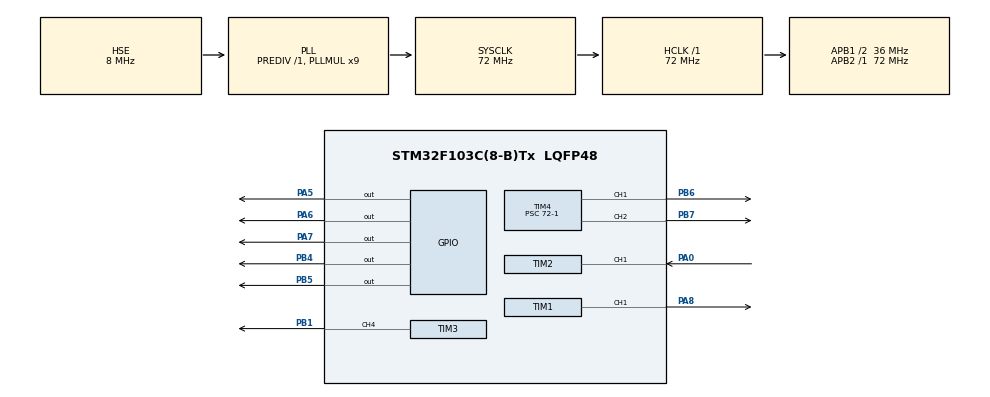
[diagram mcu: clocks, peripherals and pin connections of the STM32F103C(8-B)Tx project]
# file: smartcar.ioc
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Mcu.Family=STM32F1
Mcu.Name=STM32F103C(8-B)Tx
Mcu.Package=LQFP48
NVIC.PriorityGroup=NVIC_PRIORITYGROUP_4
PA0-WKUP.Signal=S_TIM2_CH1_ETR
PA5.GPIO_ModeDefaultOutputPP=GPIO_MODE_OUTPUT_PP
PA5.Signal=GPIO_Output
PA6.GPIO_PuPd=GPIO_PULLDOWN
PA6.GPIO_Speed=GPIO_SPEED_FREQ_MEDIUM
PA6.Signal=GPIO_Output
PA7.GPIO_PuPd=GPIO_PULLUP
PA7.PinState=GPIO_PIN_SET
PA7.Signal=GPIO_Output
PA8.Signal=S_TIM1_CH1
PB1.Signal=S_TIM3_CH4
PB4.GPIO_ModeDefaultOutputPP=GPIO_MODE_OUTPUT_PP
PB4.Signal=GPIO_Output
PB5.GPIO_ModeDefaultOutputPP=GPIO_MODE_OUTPUT_PP
PB5.Signal=GPIO_Output
PB6.Signal=S_TIM4_CH1
PB7.Signal=S_TIM4_CH2
PC14-OSC32_IN.Mode=LSE-External-Oscillator
PC14-OSC32_IN.Signal=RCC_OSC32_IN
PC15-OSC32_OUT.Mode=LSE-External-Oscillator
PC15-OSC32_OUT.Signal=RCC_OSC32_OUT
PD0-OSC_IN.Mode=HSE-External-Oscillator
PD0-OSC_IN.Signal=RCC_OSC_IN
PD1-OSC_OUT.Mode=HSE-External-Oscillator
PD1-OSC_OUT.Signal=RCC_OSC_OUT
ProjectManager.HeapSize=0x200
ProjectManager.StackSize=0x400
ProjectManager.TargetToolchain=MDK-ARM V5.32
RCC.AHBFreq_Value=72000000
RCC.APB1CLKDivider=RCC_HCLK_DIV2
RCC.APB1Freq_Value=36000000
RCC.APB1TimFreq_Value=72000000
RCC.APB2Freq_Value=72000000
RCC.APB2TimFreq_Value=72000000
RCC.HCLKFreq_Value=72000000
RCC.PLLMUL=RCC_PLL_MUL9
RCC.PLLSourceVirtual=RCC_PLLSOURCE_HSE
RCC.SYSCLKFreq_VALUE=72000000
RCC.SYSCLKSource=RCC_SYSCLKSOURCE_PLLCLK
RCC.USBFreq_Value=72000000
SH.S_TIM1_CH1.0=TIM1_CH1,PWM Generation1 CH1
SH.S_TIM2_CH1_ETR.0=TIM2_CH1,Input_Capture1_from_TI1
SH.S_TIM3_CH4.0=TIM3_CH4,PWM Generation4 CH4
SH.S_TIM4_CH1.0=TIM4_CH1,PWM Generation1 CH1
SH.S_TIM4_CH2.0=TIM4_CH2,PWM Generation2 CH2
TIM1.Channel-PWM\ Generation1\ CH1=TIM_CHANNEL_1
TIM2.Channel-Input_Capture1_from_TI1=TIM_CHANNEL_1
TIM3.Channel-PWM\ Generation4\ CH4=TIM_CHANNEL_4
TIM3.Period=20000-1
TIM3.Prescaler=72-1
TIM4.AutoReloadPreload=TIM_AUTORELOAD_PRELOAD_ENABLE
TIM4.Channel-PWM\ Generation1\ CH1=TIM_CHANNEL_1
TIM4.Channel-PWM\ Generation2\ CH2=TIM_CHANNEL_2
TIM4.Period=1000-1
TIM4.Prescaler=72-1
TIM4.Pulse-PWM\ Generation1\ CH1=500
TIM4.Pulse-PWM\ Generation2\ CH2=500
VP_SYS_VS_ND.Mode=No_Debug
board=custom

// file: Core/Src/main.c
/* USER CODE BEGIN Header */
/**
  ******************************************************************************
  * @file           : main.c
  * @brief          : Main program body
  ******************************************************************************
  * @attention
  *
  * Copyright (c) 2023 STMicroelectronics.
  * All rights reserved.
  *
  * This software is licensed under terms that can be found in the LICENSE file
  * in the root directory of this software component.
  * If no LICENSE file comes with this software, it is provided AS-IS.
  *
  ******************************************************************************
  */
/* USER CODE END Header */
#include "main.h"
#include "tim.h"
#include "gpio.h"

/* USER CODE BEGIN Includes */

//电创活动赛题_超声波避障小车 Made by wzz 2023.05.05

/* USER CODE END Includes */

/* USER CODE BEGIN PV */
uint8_t isup=1;    //上升沿标志
uint16_t valueup;  //存储上升沿开始计数点
uint16_t valuedown;//储存下降沿开始计数点
uint16_t w=0;      //实际脉冲宽度
uint8_t updatecount=0;//定时器反转计数
int pwm1=0;
int pwm2=0;
uint16_t s = 500 ;//用作w与s的对比
/* USER CODE END PV */

void SystemClock_Config(void);

/* USER CODE BEGIN 0 */

void HAL_TIM_IC_CaptureCallback(TIM_HandleTypeDef *htim)//检测脉冲宽度函数
{
	if(isup)
	{
		valueup = HAL_TIM_ReadCapturedValue(htim,TIM_CHANNEL_1);//如果是上升沿，存储计数点
		__HAL_TIM_SET_CAPTUREPOLARITY(htim,TIM_CHANNEL_1,TIM_ICPOLARITY_FALLING);//设置为下降沿检测
		isup=0;//下一轮执行else部分代码
	}
	else
	{
		valuedown = HAL_TIM_ReadCapturedValue(htim,TIM_CHANNEL_1);//如果是下降沿，储存计数点，否则不改变
		__HAL_TIM_SET_CAPTUREPOLARITY(htim,TIM_CHANNEL_1,TIM_ICPOLARITY_RISING);//设置为上升沿检测
		isup=1;//下一轮执行if代码
	     w = valuedown + updatecount*65536 - valueup;//检测脉冲宽度
	}
}
void HAL_TIM_PeriodElapsedCallback(TIM_HandleTypeDef *htim)//如果定时器反转，使updatecount加一，保证valuedown永远大于valueup
{
	updatecount++;
}
/* USER CODE END 0 */

int main(void)
{

  /* MCU Configuration--------------------------------------------------------*/

  /* Reset of all peripherals, Initializes the Flash interface and the Systick. */
  HAL_Init();

  /* Configure the system clock */
  SystemClock_Config();

  /* Initialize all configured peripherals */
  MX_GPIO_Init();
  MX_TIM1_Init();
  MX_TIM2_Init();
  MX_TIM3_Init();
  MX_TIM4_Init();
  /* USER CODE BEGIN 2 */
	HAL_TIM_PWM_Start(&htim1,TIM_CHANNEL_1);//一些初始化
	HAL_TIM_IC_Start_IT(&htim2,TIM_CHANNEL_1);
	HAL_TIM_PWM_Start(&htim3, TIM_CHANNEL_4);
	HAL_TIM_PWM_Start(&htim4, TIM_CHANNEL_1);
	HAL_TIM_PWM_Start(&htim4, TIM_CHANNEL_2);
  __HAL_TIM_SET_COMPARE(&htim4,TIM_CHANNEL_1,pwm1);//将电机pwm初始化为0
  __HAL_TIM_SET_COMPARE(&htim4,TIM_CHANNEL_2,pwm2);
     HAL_GPIO_WritePin(GPIOA,GPIO_PIN_6,1);//led闪烁3次后启动
		HAL_Delay(500);
	HAL_GPIO_WritePin(GPIOA,GPIO_PIN_6,0);
		HAL_Delay(500);
	HAL_GPIO_WritePin(GPIOA,GPIO_PIN_6,1);
		HAL_Delay(500);
	HAL_GPIO_WritePin(GPIOA,GPIO_PIN_6,0);
		HAL_Delay(500);
	HAL_GPIO_WritePin(GPIOA,GPIO_PIN_6,1);
		HAL_Delay(500);
	HAL_GPIO_WritePin(GPIOA,GPIO_PIN_6,0);
	HAL_GPIO_WritePin(GPIOA,GPIO_PIN_7,1);//启动电机驱动模块
  /* USER CODE END 2 */

  /* Infinite loop */
  /* USER CODE BEGIN WHILE */
  while (1)
  {
	  if(w<s)//障碍物逼近
	  {
	    pwm1=1000;//电机停止
	    pwm2=1000;
	    __HAL_TIM_SET_COMPARE(&htim4,TIM_CHANNEL_1,pwm1);
	    __HAL_TIM_SET_COMPARE(&htim4,TIM_CHANNEL_2,pwm2);
	    HAL_GPIO_WritePin(GPIOA,GPIO_PIN_6,1);//led警示
	    __HAL_TIM_SET_COMPARE(&htim3, TIM_CHANNEL_4,2400);//检测左侧是否安全
	    HAL_Delay(1500);//让舵机转过去

	   if(w<s)
		  {
		     __HAL_TIM_SET_COMPARE(&htim3, TIM_CHANNEL_4,400);//检测右侧是否安全
			HAL_Delay(2000);//让舵机转过去
			if(w<s)
			{
				//向后转
		__HAL_TIM_SET_COMPARE(&htim3, TIM_CHANNEL_4,1400);//舵机回正
		  pwm1=750;pwm2=750;
		   HAL_GPIO_WritePin(GPIOB,GPIO_PIN_4,0);
		   HAL_GPIO_WritePin(GPIOB,GPIO_PIN_5,1);
	      __HAL_TIM_SET_COMPARE(&htim4,TIM_CHANNEL_1,pwm1);
	      __HAL_TIM_SET_COMPARE(&htim4,TIM_CHANNEL_2,pwm2);
			  HAL_Delay(1000);
			}
	   else
			{
				//向右转
		   pwm1=750;pwm2=750;
		   HAL_GPIO_WritePin(GPIOB,GPIO_PIN_4,0);
		   HAL_GPIO_WritePin(GPIOB,GPIO_PIN_5,1);
	      __HAL_TIM_SET_COMPARE(&htim4,TIM_CHANNEL_1,pwm1);
	      __HAL_TIM_SET_COMPARE(&htim4,TIM_CHANNEL_2,pwm2);
			  HAL_Delay(500);

			}

		  }
	 else
		{
		  //左转
		  pwm1=750;pwm2=750;
		   HAL_GPIO_WritePin(GPIOB,GPIO_PIN_4,1);
		   HAL_GPIO_WritePin(GPIOB,GPIO_PIN_5,0);
	      __HAL_TIM_SET_COMPARE(&htim4,TIM_CHANNEL_1,pwm1);
	      __HAL_TIM_SET_COMPARE(&htim4,TIM_CHANNEL_2,pwm2);
			  HAL_Delay(500);

		 }

	  }
	  else//前进
	  {
	       HAL_GPIO_WritePin(GPIOA,GPIO_PIN_6,0);//警示灯熄灭
	      __HAL_TIM_SET_COMPARE(&htim3, TIM_CHANNEL_4,1400);//舵机回正
	    	//电机启动，正转
		  pwm1=500;pwm2=500;
		   HAL_GPIO_WritePin(GPIOB,GPIO_PIN_4,1);
		   HAL_GPIO_WritePin(GPIOB,GPIO_PIN_5,1);
	      __HAL_TIM_SET_COMPARE(&htim4,TIM_CHANNEL_1,pwm1);
	      __HAL_TIM_SET_COMPARE(&htim4,TIM_CHANNEL_2,pwm2);
	  }
    /* USER CODE END WHILE */

  }
}

void SystemClock_Config(void)
{
  RCC_OscInitTypeDef RCC_OscInitStruct = {0};
  RCC_ClkInitTypeDef RCC_ClkInitStruct = {0};

  /** Initializes the RCC Oscillators according to the specified parameters
  * in the RCC_OscInitTypeDef structure.
  */
  RCC_OscInitStruct.OscillatorType = RCC_OSCILLATORTYPE_HSE;
  RCC_OscInitStruct.HSEState = RCC_HSE_ON;
  RCC_OscInitStruct.HSEPredivValue = RCC_HSE_PREDIV_DIV1;
  RCC_OscInitStruct.HSIState = RCC_HSI_ON;
  RCC_OscInitStruct.PLL.PLLState = RCC_PLL_ON;
  RCC_OscInitStruct.PLL.PLLSource = RCC_PLLSOURCE_HSE;
  RCC_OscInitStruct.PLL.PLLMUL = RCC_PLL_MUL9;
  if (HAL_RCC_OscConfig(&RCC_OscInitStruct) != HAL_OK)
  {
    Error_Handler();
  }
  /** Initializes the CPU, AHB and APB buses clocks
  */
  RCC_ClkInitStruct.ClockType = RCC_CLOCKTYPE_HCLK|RCC_CLOCKTYPE_SYSCLK
                              |RCC_CLOCKTYPE_PCLK1|RCC_CLOCKTYPE_PCLK2;
  RCC_ClkInitStruct.SYSCLKSource = RCC_SYSCLKSOURCE_PLLCLK;
  RCC_ClkInitStruct.AHBCLKDivider = RCC_SYSCLK_DIV1;
  RCC_ClkInitStruct.APB1CLKDivider = RCC_HCLK_DIV2;
  RCC_ClkInitStruct.APB2CLKDivider = RCC_HCLK_DIV1;

  if (HAL_RCC_ClockConfig(&RCC_ClkInitStruct, FLASH_LATENCY_2) != HAL_OK)
  {
    Error_Handler();
  }
}

void Error_Handler(void)
{
  __disable_irq();
  while (1)
  {
  }
}
